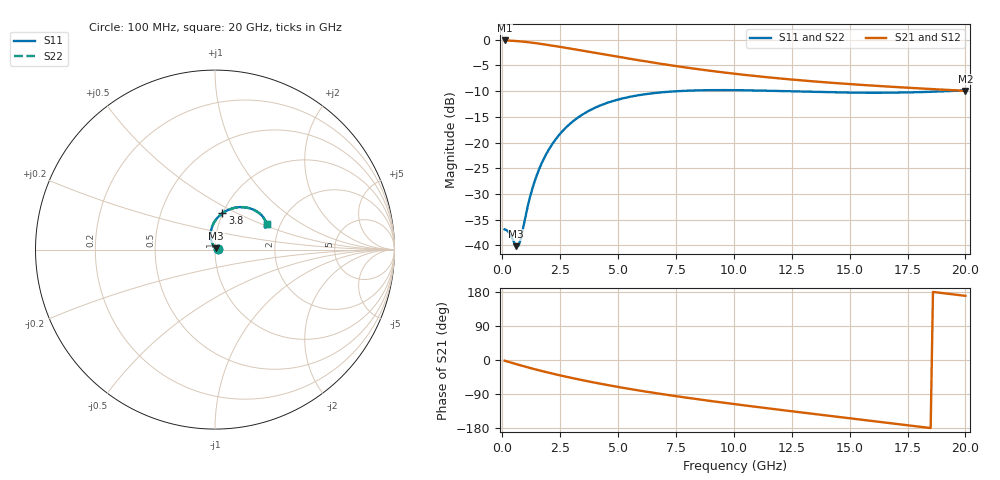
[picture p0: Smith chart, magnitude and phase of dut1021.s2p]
! Touchstone file exported from HFSS 2024.1.0
!  File:  C:/UserFiles/LocalFiles/RDL_TSV_Batchsim/temp_RDL_TSV_1021_1780081090.aedt
!  Generated:  03:14:05 AM May 30, 2026
!  Design:  RDL_TSV
!  Project:  temp_RDL_TSV_1021_1780081090
!  Setup:  Setup1
!  Solution:  Sweep
! Variables:
!  dtsv = 9.68um
!  hbump = 3um
!  htsv = 99.26um
!  ldown = 454.66um
!  lrdl = 251.86um
!  p = 40
!  p1 = 58.73um
!  rhole = 10um
!  subl = 2371.42um
!  t = 450um
!  tdown = 3.75um
!  trdl = 4.24um
!  viad = 10um
!  wdown = 12.94um
!  wrdl = 22.93um
!  xbump = 18um
# GHz S MA R 50.000000
! Terminal data exported
! Port[1] = TM1_1_T1
! Port[2] = TM1_4_T1
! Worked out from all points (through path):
!   200 points, 100 MHz to 20 GHz, reference 50 ohm
!   highest |S21| = -0.13 dB at 100 MHz (marker M1); lowest = -9.9 dB at 20 GHz (marker M2)
!   group delay of S21, straight-line fit = 24.5 ps
!   lowest |S11| = -40.2 dB at 600 MHz (marker M3), VSWR 1.02, Z = 50.7 + j0.685 ohm
!   |S11| at or under -10 dB: start of sweep to 7.561 GHz; 12.21 GHz to 19.19 GHz (6.984 GHz wide, 44.5 % of centre)
!   |S22| runs from -40.2 to -9.8 dB; largest |S21 - S12| = 1.2e-14
!   S11 on the Smith chart (normalised r, x): 100 MHz: 1.03, +0.00; 3.8 GHz: 1.00, +0.42; 20 GHz: 1.70, +0.55
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0.1  0.01431 4.1  0.9851 -1.8  0.9851 -1.8  0.01431 4.1
! Gamma 0 0 0 0
! Port Impedance 50 0 50 0
0.3  0.01324 12.4  0.9818 -5.5  0.9818 -5.5  0.01324 12.4
0.6  0.009817 43.4  0.9726 -10.8  0.9726 -10.8  0.009823 43.4
0.7  0.009889 63.7  0.9686 -12.6  0.9686 -12.6  0.009892 63.6
0.8  0.01157 83.1  0.9642 -14.3  0.9642 -14.3  0.01157 82.9
1.1  0.02408 109.8  0.9484 -19.4  0.9484 -19.4  0.02405 109.7
1.3  0.03574 113.3  0.9364 -22.7  0.9364 -22.7  0.03569 113.2
1.5  0.04882 113.1  0.9235 -25.9  0.9235 -25.9  0.04876 113.0
1.8  0.07008 109.9  0.903 -30.5  0.903 -30.5  0.06999 109.9
2.1  0.0923 105.4  0.8817 -34.9  0.8817 -34.9  0.09217 105.4
2.5  0.122 98.8  0.8529 -40.6  0.8529 -40.6  0.1218 98.7
3  0.1575 90.5  0.8168 -47.4  0.8168 -47.4  0.1572 90.5
3.5  0.1897 82.8  0.7815 -53.8  0.7815 -53.8  0.1894 82.7
3.8  0.2071 78.5  0.7608 -57.4  0.7608 -57.4  0.2068 78.4
5.1  0.2656 62.4  0.6774 -72.2  0.6774 -72.2  0.2651 62.4
6.8  0.307 47.1  0.5864 -89.1  0.5864 -89.1  0.3064 47.1
8.3  0.3214 37.7  0.5233 -102.3  0.5233 -102.3  0.3207 37.7
10.1  0.3234 30.1  0.4654 -117.0  0.4654 -117.0  0.3227 30.1
11.7  0.3184 26.0  0.4265 -129.3  0.4265 -129.3  0.3175 26.0
13.4  0.3112 23.9  0.3945 -142.0  0.3945 -142.0  0.3103 23.8
16.7  0.3056 24.3  0.3501 -166.3  0.3501 -166.3  0.3047 24.3
20  0.3224 26.5  0.3186 169.3  0.3186 169.3  0.3216 26.5
